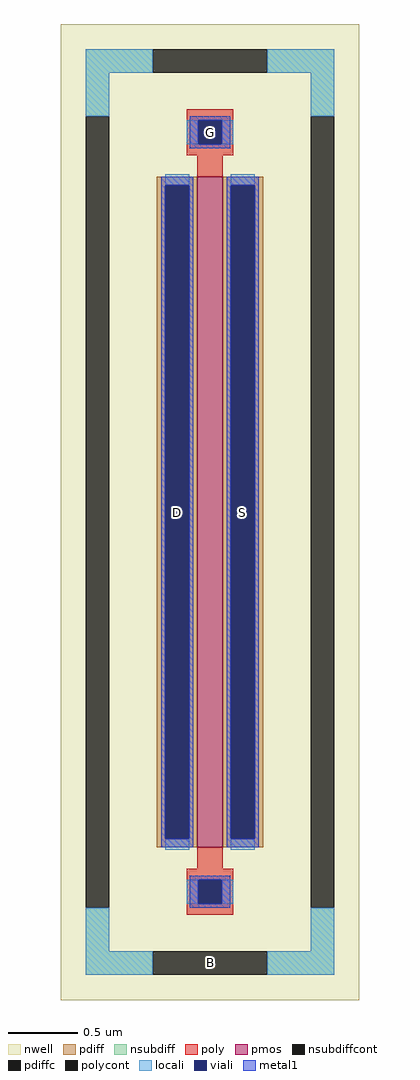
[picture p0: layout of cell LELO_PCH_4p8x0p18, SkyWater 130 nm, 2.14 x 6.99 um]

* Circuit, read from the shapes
.subckt LELO_PCH_4p8x0p18 D G S B
XM1 S G D B sky130_fd_pr__pfet_01v8 w=4.8 l=0.18
.ends

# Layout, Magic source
magic
tech sky130A
magscale 1 2
<< nwell >>
rect -214 -699 214 699
<< pmos >>
rect -18 -480 18 480
<< pdiff >>
rect -76 468 -18 480
rect -76 -468 -64 468
rect -30 -468 -18 468
rect -76 -480 -18 -468
rect 18 468 76 480
rect 18 -468 30 468
rect 64 -468 76 468
rect 18 -480 76 -468
<< pdiffc >>
rect -64 -468 -30 468
rect 30 -468 64 468
<< nsubdiff >>
rect -178 629 -82 663
rect 82 629 178 663
rect -178 567 -144 629
rect 144 567 178 629
rect -178 -629 -144 -567
rect 144 -629 178 -567
rect -178 -663 -82 -629
rect 82 -663 178 -629
<< nsubdiffcont >>
rect -82 629 82 663
rect -178 -567 -144 567
rect 144 -567 178 567
rect -82 -663 82 -629
<< poly >>
rect -33 561 33 577
rect -33 527 -17 561
rect 17 527 33 561
rect -33 511 33 527
rect -18 480 18 511
rect -18 -511 18 -480
rect -33 -527 33 -511
rect -33 -561 -17 -527
rect 17 -561 33 -527
rect -33 -577 33 -561
<< polycont >>
rect -17 527 17 561
rect -17 -561 17 -527
<< locali >>
rect -178 629 -82 663
rect 82 629 178 663
rect -178 567 -144 629
rect 144 567 178 629
rect -33 527 -17 561
rect 17 527 33 561
rect -64 468 -30 484
rect -64 -484 -30 -468
rect 30 468 64 484
rect 30 -484 64 -468
rect -33 -561 -17 -527
rect 17 -561 33 -527
rect -178 -629 -144 -567
rect 144 -629 178 -567
rect -178 -663 -82 -629
rect 82 -663 178 -629
<< viali >>
rect -17 527 17 561
rect -64 -468 -30 468
rect 30 -468 64 468
rect -17 -561 17 -527
<< metal1 >>
rect -29 561 29 567
rect -29 527 -17 561
rect 17 527 29 561
rect -29 521 29 527
rect -70 468 -24 480
rect -70 -468 -64 468
rect -30 -468 -24 468
rect -70 -480 -24 -468
rect 24 468 70 480
rect 24 -468 30 468
rect 64 -468 70 468
rect 24 -480 70 -468
rect -29 -527 29 -521
rect -29 -561 -17 -527
rect 17 -561 29 -527
rect -29 -567 29 -561
<< labels >>
flabel locali s -4 -650 4 -642 0 FreeSans 200 0 0 0 B
port 4 nsew
flabel metal1 s -51 -4 -43 4 0 FreeSans 200 0 0 0 D
port 1 nsew
flabel metal1 s 43 -4 51 4 0 FreeSans 200 0 0 0 S
port 3 nsew
flabel metal1 s -4 540 4 548 0 FreeSans 200 0 0 0 G
port 2 nsew
<< properties >>
string FIXED_BBOX -161 -646 161 646
<< end >>
